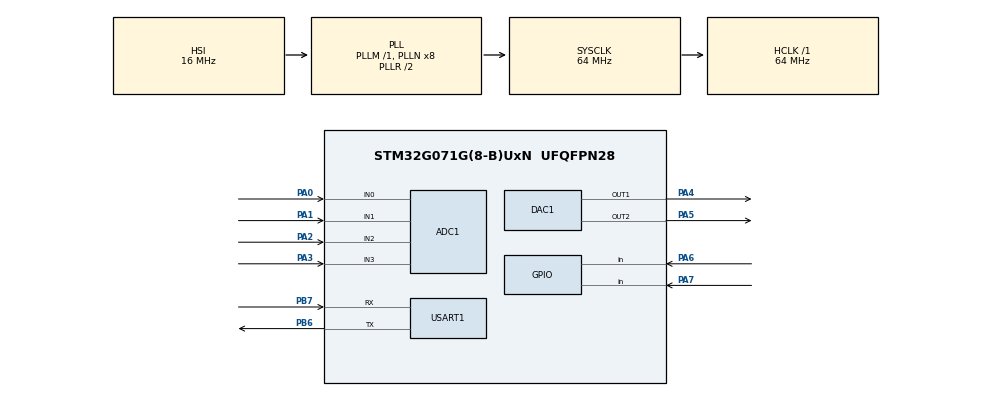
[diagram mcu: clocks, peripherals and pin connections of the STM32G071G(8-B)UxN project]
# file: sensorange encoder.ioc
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ADC1.Channel-10\#ChannelRegularConversion=ADC_CHANNEL_0
ADC1.Channel-11\#ChannelRegularConversion=ADC_CHANNEL_1
ADC1.Channel-12\#ChannelRegularConversion=ADC_CHANNEL_2
ADC1.Channel-13\#ChannelRegularConversion=ADC_CHANNEL_3
ADC1.ClockPrescaler=ADC_CLOCK_ASYNC_DIV32
ADC1.ContinuousConvMode=ENABLE
ADC1.DMAContinuousRequests=ENABLE
ADC1.DiscontinuousConvMode=DISABLE
ADC1.EOCSelection=ADC_EOC_SEQ_CONV
ADC1.ExternalTrigConv=ADC_SOFTWARE_START
ADC1.NbrOfConversion=4
ADC1.NbrOfConversionFlag=1
ADC1.Rank-10\#ChannelRegularConversion=1
ADC1.Rank-11\#ChannelRegularConversion=2
ADC1.Rank-12\#ChannelRegularConversion=3
ADC1.Rank-13\#ChannelRegularConversion=4
ADC1.SamplingTime-10\#ChannelRegularConversion=ADC_SAMPLINGTIME_COMMON_1
ADC1.SamplingTime-11\#ChannelRegularConversion=ADC_SAMPLINGTIME_COMMON_1
ADC1.SamplingTime-12\#ChannelRegularConversion=ADC_SAMPLINGTIME_COMMON_1
ADC1.SamplingTime-13\#ChannelRegularConversion=ADC_SAMPLINGTIME_COMMON_1
ADC1.SamplingTimeCommon1=ADC_SAMPLETIME_160CYCLES_5
ADC1.SamplingTimeCommon2=ADC_SAMPLETIME_160CYCLES_5
ADC1.SelectedChannel=ADC_CHANNEL_0|ADC_CHANNEL_1|ADC_CHANNEL_2|ADC_CHANNEL_3
ADC1.master=1
DAC1.DAC1_OutputBuffer-DAC_OUT1=DAC_OUTPUTBUFFER_ENABLE
DAC1.DAC_Channel-DAC_OUT1=DAC_CHANNEL_1
DAC1.DAC_Channel-DAC_OUT2=DAC_CHANNEL_2
Dma.ADC1.1.Direction=DMA_PERIPH_TO_MEMORY
Dma.ADC1.1.EventEnable=DISABLE
Dma.ADC1.1.Instance=DMA1_Channel2
Dma.ADC1.1.MemDataAlignment=DMA_MDATAALIGN_HALFWORD
Dma.ADC1.1.MemInc=DMA_MINC_ENABLE
Dma.ADC1.1.Mode=DMA_CIRCULAR
Dma.ADC1.1.PeriphDataAlignment=DMA_PDATAALIGN_HALFWORD
Dma.ADC1.1.PeriphInc=DMA_PINC_DISABLE
Dma.ADC1.1.Polarity=HAL_DMAMUX_REQ_GEN_RISING
Dma.ADC1.1.Priority=DMA_PRIORITY_LOW
Dma.ADC1.1.RequestNumber=1
Dma.ADC1.1.SignalID=NONE
Dma.ADC1.1.SyncEnable=DISABLE
Dma.ADC1.1.SyncPolarity=HAL_DMAMUX_SYNC_NO_EVENT
Dma.ADC1.1.SyncRequestNumber=1
Dma.ADC1.1.SyncSignalID=NONE
Dma.DAC1_CH1.0.Direction=DMA_MEMORY_TO_PERIPH
Dma.DAC1_CH1.0.EventEnable=DISABLE
Dma.DAC1_CH1.0.Instance=DMA1_Channel1
Dma.DAC1_CH1.0.MemDataAlignment=DMA_MDATAALIGN_HALFWORD
Dma.DAC1_CH1.0.MemInc=DMA_MINC_ENABLE
Dma.DAC1_CH1.0.Mode=DMA_CIRCULAR
Dma.DAC1_CH1.0.PeriphDataAlignment=DMA_PDATAALIGN_HALFWORD
Dma.DAC1_CH1.0.PeriphInc=DMA_PINC_DISABLE
Dma.DAC1_CH1.0.Polarity=HAL_DMAMUX_REQ_GEN_RISING
Dma.DAC1_CH1.0.Priority=DMA_PRIORITY_LOW
Dma.DAC1_CH1.0.RequestNumber=1
Dma.DAC1_CH1.0.SignalID=NONE
Dma.DAC1_CH1.0.SyncEnable=DISABLE
Dma.DAC1_CH1.0.SyncPolarity=HAL_DMAMUX_SYNC_NO_EVENT
Dma.DAC1_CH1.0.SyncRequestNumber=1
Dma.DAC1_CH1.0.SyncSignalID=NONE
Dma.DAC1_CH2.2.Direction=DMA_MEMORY_TO_PERIPH
Dma.DAC1_CH2.2.EventEnable=DISABLE
Dma.DAC1_CH2.2.Instance=DMA1_Channel3
Dma.DAC1_CH2.2.MemDataAlignment=DMA_MDATAALIGN_HALFWORD
Dma.DAC1_CH2.2.MemInc=DMA_MINC_ENABLE
Dma.DAC1_CH2.2.Mode=DMA_CIRCULAR
Dma.DAC1_CH2.2.PeriphDataAlignment=DMA_PDATAALIGN_HALFWORD
Dma.DAC1_CH2.2.PeriphInc=DMA_PINC_DISABLE
Dma.DAC1_CH2.2.Polarity=HAL_DMAMUX_REQ_GEN_RISING
Dma.DAC1_CH2.2.Priority=DMA_PRIORITY_LOW
Dma.DAC1_CH2.2.RequestNumber=1
Dma.DAC1_CH2.2.SignalID=NONE
Dma.DAC1_CH2.2.SyncEnable=DISABLE
Dma.DAC1_CH2.2.SyncPolarity=HAL_DMAMUX_SYNC_NO_EVENT
Dma.DAC1_CH2.2.SyncRequestNumber=1
Dma.DAC1_CH2.2.SyncSignalID=NONE
Dma.Request0=DAC1_CH1
Dma.Request1=ADC1
Dma.Request2=DAC1_CH2
Mcu.Family=STM32G0
Mcu.Name=STM32G071G(8-B)UxN
Mcu.Package=UFQFPN28
NVIC.DMA1_Channel1_IRQn=true\:0\:0\:false\:false\:true\:false\:true\:true
NVIC.DMA1_Channel2_3_IRQn=true\:0\:0\:false\:false\:true\:false\:true\:true
NVIC.TIM14_IRQn=true\:0\:0\:false\:false\:true\:true\:true\:true
NVIC.TIM16_IRQn=true\:0\:0\:false\:false\:true\:true\:true\:true
PA0.Mode=IN0
PA0.Signal=ADC1_IN0
PA1.Mode=IN1
PA1.Signal=ADC1_IN1
PA13.Mode=Serial_Wire
PA13.Signal=SYS_SWDIO
PA14-BOOT0.Mode=Serial_Wire
PA14-BOOT0.Signal=SYS_SWCLK
PA2.Mode=IN2
PA2.Signal=ADC1_IN2
PA3.Mode=IN3
PA3.Signal=ADC1_IN3
PA4.Signal=COMP_DAC11_group
PA5.Signal=COMP_DAC12_group
PA6.Signal=GPIO_Input
PA7.Signal=GPIO_Input
PB6.Mode=Asynchronous
PB6.Signal=USART1_TX
PB7.Mode=Asynchronous
PB7.Signal=USART1_RX
ProjectManager.HeapSize=0x200
ProjectManager.StackSize=0x400
ProjectManager.TargetToolchain=STM32CubeIDE
RCC.ADCFreq_Value=64000000
RCC.AHBFreq_Value=64000000
RCC.CortexFreq_Value=64000000
RCC.EXTERNAL_CLOCK_VALUE=48000
RCC.HCLKFreq_Value=64000000
RCC.HSE_VALUE=8000000
RCC.HSI_VALUE=16000000
RCC.LSE_VALUE=32768
RCC.PLLP=RCC_PLLP_DIV4
RCC.SYSCLKFreq_VALUE=64000000
RCC.SYSCLKSource=RCC_SYSCLKSOURCE_PLLCLK
RCC.VCOOutputFreq_Value=128000000
SH.COMP_DAC11_group.0=DAC1_OUT1,DAC_OUT1
SH.COMP_DAC12_group.0=DAC1_OUT2,DAC_OUT2
TIM14.Period=10-1
TIM14.Prescaler=64-1
TIM16.Period=250-1
TIM16.Prescaler=640-1
USART1.VirtualMode-Asynchronous=VM_ASYNC
VP_TIM14_VS_ClockSourceINT.Mode=Enable_Timer
VP_TIM16_VS_ClockSourceINT.Mode=Enable_Timer
board=custom

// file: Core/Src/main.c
/* USER CODE BEGIN Header */
/**
  ******************************************************************************
  * @file           : main.c
  * @brief          : Main program body
  ******************************************************************************
  * @attention
  *
  * Copyright (c) 2025 STMicroelectronics.
  * All rights reserved.
  *
  * This software is licensed under terms that can be found in the LICENSE file
  * in the root directory of this software component.
  * If no LICENSE file comes with this software, it is provided AS-IS.
  *
  ******************************************************************************
  */
/* USER CODE END Header */
#include "main.h"

/* USER CODE BEGIN Includes */
#include <math.h>
/* USER CODE END Includes */

ADC_HandleTypeDef hadc1;
DMA_HandleTypeDef hdma_adc1;

DAC_HandleTypeDef hdac1;
DMA_HandleTypeDef hdma_dac1_ch1;
DMA_HandleTypeDef hdma_dac1_ch2;

TIM_HandleTypeDef htim14;
TIM_HandleTypeDef htim16;

UART_HandleTypeDef huart1;

/* USER CODE BEGIN PV */

extern TIM_HandleTypeDef htim14;

#define CPR 90   // cycles per revolution
#define EDGES_PER_CYCLE (CPR * 4) // quadrature edges

#define QUAD_A_PIN GPIO_PIN_4
#define QUAD_B_PIN GPIO_PIN_5
#define QUAD_PORT GPIOA

int16_t value_adc0;
int16_t value_adc1;
int16_t value_adc2;
int16_t value_adc3;
volatile int32_t diff_x;
volatile int32_t diff_y;
int16_t avg_x;
int16_t avg_y;

uint16_t AD_RES_BUFFER[4];
volatile float angle;
volatile float last_angle;
volatile int16_t angle_scaled;

volatile uint32_t counter = 0;
volatile uint8_t output_counter = 0;

// Add variable to store PA4/PA5 input states
uint8_t mode1 = 0;
uint8_t mode2 = 0;

uint8_t mode = 0; // 0 = normal, 1 = quadrature

volatile uint8_t pa4_state = 0;
volatile uint8_t pa5_state = 0;

static uint8_t quad_state = 0;
static int32_t edges_remaining = 0;
static int dir = 1;

static float edge_accum = 0;

static uint8_t first_sample = 1;   // flag to ignore startup delta

static int32_t current_edge_index = 0;  // running output position
static int32_t target_edge_index = 0;   // target position

// Timer handle
extern TIM_HandleTypeDef htim14;

static float total_angle = 0.0f;

// Gray-code sequence for quadrature
static const uint8_t states[4][2] = {
    {0,0}, {1,0}, {1,1}, {0,1}
};

/* USER CODE END PV */

void SystemClock_Config(void);
static void MX_GPIO_Init(void);
static void MX_DMA_Init(void);
static void MX_ADC1_Init(void);
static void MX_DAC1_Init(void);
static void MX_USART1_UART_Init(void);
static void MX_TIM16_Init(void);
static void MX_TIM14_Init(void);

/* USER CODE BEGIN 0 */
void PA4_PA5_SetInput(void) {
    GPIO_InitTypeDef GPIO_InitStruct = {0};
    __HAL_RCC_GPIOA_CLK_ENABLE();

    GPIO_InitStruct.Pin = GPIO_PIN_4 | GPIO_PIN_5;
    GPIO_InitStruct.Mode = GPIO_MODE_INPUT;
    GPIO_InitStruct.Pull = GPIO_NOPULL;
    HAL_GPIO_Init(GPIOA, &GPIO_InitStruct);

}

void PA4_PA5_SetOutput(void) {
    GPIO_InitTypeDef GPIO_InitStruct = {0};
    __HAL_RCC_GPIOA_CLK_ENABLE();

    GPIO_InitStruct.Pin = GPIO_PIN_4| GPIO_PIN_5;
    GPIO_InitStruct.Mode = GPIO_MODE_OUTPUT_OD;
    GPIO_InitStruct.Pull = GPIO_NOPULL;
    GPIO_InitStruct.Speed = GPIO_SPEED_FREQ_MEDIUM;
    HAL_GPIO_Init(GPIOA, &GPIO_InitStruct);

}

void PA4_PA5_SetDAC(void) {
    MX_DAC1_Init();
}

void Quad_Update(float delta)
{
    total_angle += delta;

    // Wrap total_angle to [-180, 180]
    if (total_angle > 180.0f) total_angle -= 360.0f;
    if (total_angle < -180.0f) total_angle += 360.0f;

    target_edge_index = (int32_t)roundf((total_angle / 360.0f) * EDGES_PER_CYCLE);
    int32_t diff = target_edge_index - current_edge_index;
    if (diff == 0) return;

    dir = (diff > 0) ? +1 : -1;
    edges_remaining = abs(diff);

    float sample_period_us = 2500.0f;
    uint32_t ticks_per_edge_us = edges_remaining > 0 ? (uint32_t)(sample_period_us / edges_remaining) : 10;
    if (ticks_per_edge_us < 10) ticks_per_edge_us = 10;

    __HAL_TIM_SET_AUTORELOAD(&htim14, ticks_per_edge_us);
    __HAL_TIM_SET_COUNTER(&htim14, 0);
    HAL_TIM_Base_Start_IT(&htim14);
}

void Quad_OutputStep(void)
{
    if (edges_remaining == 0) return;

    // Advance state
    if (dir > 0) quad_state = (quad_state + 1) & 0x03;
    else         quad_state = (quad_state - 1) & 0x03;

    // Write pins
    pa4_state = states[quad_state][0];
    pa5_state = states[quad_state][1];
    HAL_GPIO_WritePin(QUAD_PORT, QUAD_A_PIN, pa4_state ? GPIO_PIN_SET : GPIO_PIN_RESET);
    HAL_GPIO_WritePin(QUAD_PORT, QUAD_B_PIN, pa5_state ? GPIO_PIN_SET : GPIO_PIN_RESET);

    edges_remaining--;
    if (edges_remaining == 0) {
        current_edge_index = target_edge_index; // update only after all steps
        HAL_TIM_Base_Stop_IT(&htim14);
    }
}

// Init GPIO
void Quad_Init(void)
{

    HAL_GPIO_WritePin(QUAD_PORT, QUAD_A_PIN | QUAD_B_PIN, GPIO_PIN_RESET);
    quad_state = 0;
    edges_remaining = 0;
}

/* USER CODE END 0 */

int main(void)
{

  /* MCU Configuration--------------------------------------------------------*/

  /* Reset of all peripherals, Initializes the Flash interface and the Systick. */
  HAL_Init();

  /* Configure the system clock */
  SystemClock_Config();

  /* Initialize all configured peripherals */
  MX_GPIO_Init();
  MX_DMA_Init();
  MX_ADC1_Init();
  MX_DAC1_Init();
  MX_USART1_UART_Init();
  MX_TIM16_Init();
  MX_TIM14_Init();
  /* USER CODE BEGIN 2 */
  HAL_ADCEx_Calibration_Start(&hadc1);
  HAL_ADC_Start_DMA(&hadc1, (uint32_t*)AD_RES_BUFFER, 4);

  // Set PA4/PA5 as input for first 0.5s
  PA4_PA5_SetInput();

  HAL_Delay(10);

  // Read PA4 and PA5 input states and save to byte
  for (int i = 0; i < 20; i++) {
	  mode1 += ((HAL_GPIO_ReadPin(GPIOA, GPIO_PIN_4) ? 1 : 0));
	  mode2 += ((HAL_GPIO_ReadPin(GPIOA, GPIO_PIN_5) ? 1 : 0));
	  HAL_Delay(1);
  }
  if (mode1 > 17 && mode2 > 17) {
	  // Both pins high, enter quadrature mode
	  mode = 1;
  }
  else {
	  mode = 0;
  }

  // Set PA4/PA5 back to DAC mode
  if (mode == 0) {
	  MX_DAC1_Init();
	  PA4_PA5_SetDAC();

	  HAL_DAC_Start(&hdac1, DAC_CHANNEL_1);
	  HAL_DAC_Start(&hdac1, DAC_CHANNEL_2);
  }

  if (mode == 1) {
	  PA4_PA5_SetOutput();
	  Quad_Init();
	  HAL_TIM_Base_Start_IT(&htim14);

  }

  HAL_TIM_Base_Start_IT(&htim16);
  /* USER CODE END 2 */

  /* Infinite loop */
  while (1)
  {

  }
}

void SystemClock_Config(void)
{
  RCC_OscInitTypeDef RCC_OscInitStruct = {0};
  RCC_ClkInitTypeDef RCC_ClkInitStruct = {0};

  /** Configure the main internal regulator output voltage
  */
  HAL_PWREx_ControlVoltageScaling(PWR_REGULATOR_VOLTAGE_SCALE1);

  /** Initializes the RCC Oscillators according to the specified parameters
  * in the RCC_OscInitTypeDef structure.
  */
  RCC_OscInitStruct.OscillatorType = RCC_OSCILLATORTYPE_HSI;
  RCC_OscInitStruct.HSIState = RCC_HSI_ON;
  RCC_OscInitStruct.HSIDiv = RCC_HSI_DIV1;
  RCC_OscInitStruct.HSICalibrationValue = RCC_HSICALIBRATION_DEFAULT;
  RCC_OscInitStruct.PLL.PLLState = RCC_PLL_ON;
  RCC_OscInitStruct.PLL.PLLSource = RCC_PLLSOURCE_HSI;
  RCC_OscInitStruct.PLL.PLLM = RCC_PLLM_DIV1;
  RCC_OscInitStruct.PLL.PLLN = 8;
  RCC_OscInitStruct.PLL.PLLP = RCC_PLLP_DIV4;
  RCC_OscInitStruct.PLL.PLLQ = RCC_PLLQ_DIV2;
  RCC_OscInitStruct.PLL.PLLR = RCC_PLLR_DIV2;
  if (HAL_RCC_OscConfig(&RCC_OscInitStruct) != HAL_OK)
  {
    Error_Handler();
  }

  /** Initializes the CPU, AHB and APB buses clocks
  */
  RCC_ClkInitStruct.ClockType = RCC_CLOCKTYPE_HCLK|RCC_CLOCKTYPE_SYSCLK
                              |RCC_CLOCKTYPE_PCLK1;
  RCC_ClkInitStruct.SYSCLKSource = RCC_SYSCLKSOURCE_PLLCLK;
  RCC_ClkInitStruct.AHBCLKDivider = RCC_SYSCLK_DIV1;
  RCC_ClkInitStruct.APB1CLKDivider = RCC_HCLK_DIV1;

  if (HAL_RCC_ClockConfig(&RCC_ClkInitStruct, FLASH_LATENCY_2) != HAL_OK)
  {
    Error_Handler();
  }
}

static void MX_ADC1_Init(void)
{

  ADC_ChannelConfTypeDef sConfig = {0};

  /** Configure the global features of the ADC (Clock, Resolution, Data Alignment and number of conversion)
  */
  hadc1.Instance = ADC1;
  hadc1.Init.ClockPrescaler = ADC_CLOCK_ASYNC_DIV32;
  hadc1.Init.Resolution = ADC_RESOLUTION_12B;
  hadc1.Init.DataAlign = ADC_DATAALIGN_RIGHT;
  hadc1.Init.ScanConvMode = ADC_SCAN_ENABLE;
  hadc1.Init.EOCSelection = ADC_EOC_SEQ_CONV;
  hadc1.Init.LowPowerAutoWait = DISABLE;
  hadc1.Init.LowPowerAutoPowerOff = DISABLE;
  hadc1.Init.ContinuousConvMode = ENABLE;
  hadc1.Init.NbrOfConversion = 4;
  hadc1.Init.DiscontinuousConvMode = DISABLE;
  hadc1.Init.ExternalTrigConv = ADC_SOFTWARE_START;
  hadc1.Init.ExternalTrigConvEdge = ADC_EXTERNALTRIGCONVEDGE_NONE;
  hadc1.Init.DMAContinuousRequests = ENABLE;
  hadc1.Init.Overrun = ADC_OVR_DATA_PRESERVED;
  hadc1.Init.SamplingTimeCommon1 = ADC_SAMPLETIME_160CYCLES_5;
  hadc1.Init.SamplingTimeCommon2 = ADC_SAMPLETIME_160CYCLES_5;
  hadc1.Init.OversamplingMode = DISABLE;
  hadc1.Init.TriggerFrequencyMode = ADC_TRIGGER_FREQ_HIGH;
  if (HAL_ADC_Init(&hadc1) != HAL_OK)
  {
    Error_Handler();
  }

  /** Configure Regular Channel
  */
  sConfig.Channel = ADC_CHANNEL_0;
  sConfig.Rank = ADC_REGULAR_RANK_1;
  sConfig.SamplingTime = ADC_SAMPLINGTIME_COMMON_1;
  if (HAL_ADC_ConfigChannel(&hadc1, &sConfig) != HAL_OK)
  {
    Error_Handler();
  }

  /** Configure Regular Channel
  */
  sConfig.Channel = ADC_CHANNEL_1;
  sConfig.Rank = ADC_REGULAR_RANK_2;
  if (HAL_ADC_ConfigChannel(&hadc1, &sConfig) != HAL_OK)
  {
    Error_Handler();
  }

  /** Configure Regular Channel
  */
  sConfig.Channel = ADC_CHANNEL_2;
  sConfig.Rank = ADC_REGULAR_RANK_3;
  if (HAL_ADC_ConfigChannel(&hadc1, &sConfig) != HAL_OK)
  {
    Error_Handler();
  }

  /** Configure Regular Channel
  */
  sConfig.Channel = ADC_CHANNEL_3;
  sConfig.Rank = ADC_REGULAR_RANK_4;
  if (HAL_ADC_ConfigChannel(&hadc1, &sConfig) != HAL_OK)
  {
    Error_Handler();
  }

}

static void MX_DAC1_Init(void)
{

  DAC_ChannelConfTypeDef sConfig = {0};

  /** DAC Initialization
  */
  hdac1.Instance = DAC1;
  if (HAL_DAC_Init(&hdac1) != HAL_OK)
  {
    Error_Handler();
  }

  /** DAC channel OUT1 config
  */
  sConfig.DAC_SampleAndHold = DAC_SAMPLEANDHOLD_DISABLE;
  sConfig.DAC_Trigger = DAC_TRIGGER_NONE;
  sConfig.DAC_OutputBuffer = DAC_OUTPUTBUFFER_ENABLE;
  sConfig.DAC_ConnectOnChipPeripheral = DAC_CHIPCONNECT_DISABLE;
  sConfig.DAC_UserTrimming = DAC_TRIMMING_FACTORY;
  if (HAL_DAC_ConfigChannel(&hdac1, &sConfig, DAC_CHANNEL_1) != HAL_OK)
  {
    Error_Handler();
  }

  /** DAC channel OUT2 config
  */
  if (HAL_DAC_ConfigChannel(&hdac1, &sConfig, DAC_CHANNEL_2) != HAL_OK)
  {
    Error_Handler();
  }

}

static void MX_TIM14_Init(void)
{

  htim14.Instance = TIM14;
  htim14.Init.Prescaler = 64-1;
  htim14.Init.CounterMode = TIM_COUNTERMODE_UP;
  htim14.Init.Period = 10-1;
  htim14.Init.ClockDivision = TIM_CLOCKDIVISION_DIV1;
  htim14.Init.AutoReloadPreload = TIM_AUTORELOAD_PRELOAD_DISABLE;
  if (HAL_TIM_Base_Init(&htim14) != HAL_OK)
  {
    Error_Handler();
  }

}

static void MX_TIM16_Init(void)
{

  htim16.Instance = TIM16;
  htim16.Init.Prescaler = 640-1;
  htim16.Init.CounterMode = TIM_COUNTERMODE_UP;
  htim16.Init.Period = 250-1;
  htim16.Init.ClockDivision = TIM_CLOCKDIVISION_DIV1;
  htim16.Init.RepetitionCounter = 0;
  htim16.Init.AutoReloadPreload = TIM_AUTORELOAD_PRELOAD_DISABLE;
  if (HAL_TIM_Base_Init(&htim16) != HAL_OK)
  {
    Error_Handler();
  }

}

static void MX_USART1_UART_Init(void)
{

  huart1.Instance = USART1;
  huart1.Init.BaudRate = 115200;
  huart1.Init.WordLength = UART_WORDLENGTH_8B;
  huart1.Init.StopBits = UART_STOPBITS_1;
  huart1.Init.Parity = UART_PARITY_NONE;
  huart1.Init.Mode = UART_MODE_TX_RX;
  huart1.Init.HwFlowCtl = UART_HWCONTROL_NONE;
  huart1.Init.OverSampling = UART_OVERSAMPLING_16;
  huart1.Init.OneBitSampling = UART_ONE_BIT_SAMPLE_DISABLE;
  huart1.Init.ClockPrescaler = UART_PRESCALER_DIV1;
  huart1.AdvancedInit.AdvFeatureInit = UART_ADVFEATURE_NO_INIT;
  if (HAL_UART_Init(&huart1) != HAL_OK)
  {
    Error_Handler();
  }
  if (HAL_UARTEx_SetTxFifoThreshold(&huart1, UART_TXFIFO_THRESHOLD_1_8) != HAL_OK)
  {
    Error_Handler();
  }
  if (HAL_UARTEx_SetRxFifoThreshold(&huart1, UART_RXFIFO_THRESHOLD_1_8) != HAL_OK)
  {
    Error_Handler();
  }
  if (HAL_UARTEx_DisableFifoMode(&huart1) != HAL_OK)
  {
    Error_Handler();
  }

}

static void MX_DMA_Init(void)
{

  /* DMA controller clock enable */
  __HAL_RCC_DMA1_CLK_ENABLE();

  /* DMA interrupt init */
  /* DMA1_Channel1_IRQn interrupt configuration */
  HAL_NVIC_SetPriority(DMA1_Channel1_IRQn, 0, 0);
  HAL_NVIC_EnableIRQ(DMA1_Channel1_IRQn);
  /* DMA1_Channel2_3_IRQn interrupt configuration */
  HAL_NVIC_SetPriority(DMA1_Channel2_3_IRQn, 0, 0);
  HAL_NVIC_EnableIRQ(DMA1_Channel2_3_IRQn);

}

static void MX_GPIO_Init(void)
{
  GPIO_InitTypeDef GPIO_InitStruct = {0};

  /* GPIO Ports Clock Enable */
  __HAL_RCC_GPIOA_CLK_ENABLE();
  __HAL_RCC_GPIOB_CLK_ENABLE();

  /*Configure GPIO pins : PA6 PA7 */
  GPIO_InitStruct.Pin = GPIO_PIN_6|GPIO_PIN_7;
  GPIO_InitStruct.Mode = GPIO_MODE_INPUT;
  GPIO_InitStruct.Pull = GPIO_NOPULL;
  HAL_GPIO_Init(GPIOA, &GPIO_InitStruct);

}

/* USER CODE BEGIN 4 */
void HAL_ADC_ConvCpltCallback(ADC_HandleTypeDef* hadc)
{
	  value_adc0 = AD_RES_BUFFER[0] - 2048;
	  value_adc1 = AD_RES_BUFFER[1] - 2048;
	  value_adc2 = AD_RES_BUFFER[2] - 2048;
	  value_adc3 = AD_RES_BUFFER[3] - 2048;

	  diff_x += AD_RES_BUFFER[0] - AD_RES_BUFFER[3];
	  diff_y += AD_RES_BUFFER[1] - AD_RES_BUFFER[2];

	  counter++;
}

void HAL_TIM_PeriodElapsedCallback(TIM_HandleTypeDef *htim)
{
    if (htim == &htim14) {
        Quad_OutputStep();
    }
    if (htim == &htim16) {
        int32_t local_diff_x, local_diff_y;
        uint32_t local_counter;

        __disable_irq();
        local_diff_x = diff_x;
        local_diff_y = diff_y;
        local_counter = counter;
        diff_x = 0;
        diff_y = 0;
        counter = 0;
        __enable_irq();

        if (local_counter == 0) {
            avg_x = value_adc0 - value_adc2;
            avg_y = value_adc1 - value_adc3;
        } else {
            avg_x = local_diff_x / (int32_t)local_counter;
            avg_y = local_diff_y / (int32_t)local_counter;
        }

        angle = atan2f(avg_y, avg_x) * 57.2958f;

        if (mode == 1) {
                if (first_sample) {
                    // Seed angle so no huge delta on startup
                    last_angle = angle;
                    edge_accum = 0.0f;
                    edges_remaining = 0;
                    first_sample = 0;
                } else {
                    float delta = angle - last_angle;

                    // Wrap to -180..180
                    if (delta > 180.0f) delta -= 360.0f;
                    if (delta < -180.0f) delta += 360.0f;
                    Quad_Update(delta);
                    last_angle = angle;
                }
            }
        else {
            // DAC mode

            angle_scaled += (angle + 180.0f) * 3848.0f / 360.0f;
            output_counter++;
            if (output_counter >= 4) { // 100 Hz update
				HAL_DAC_SetValue(&hdac1, DAC_CHANNEL_1, DAC_ALIGN_12B_R, angle_scaled/4);
				HAL_DAC_SetValue(&hdac1, DAC_CHANNEL_2, DAC_ALIGN_12B_R, angle_scaled/4);
				output_counter = 0;
				angle_scaled = 0;
            }
        }
    }
}
/* USER CODE END 4 */

void Error_Handler(void)
{
  __disable_irq();
  while (1)
  {
  }
}
